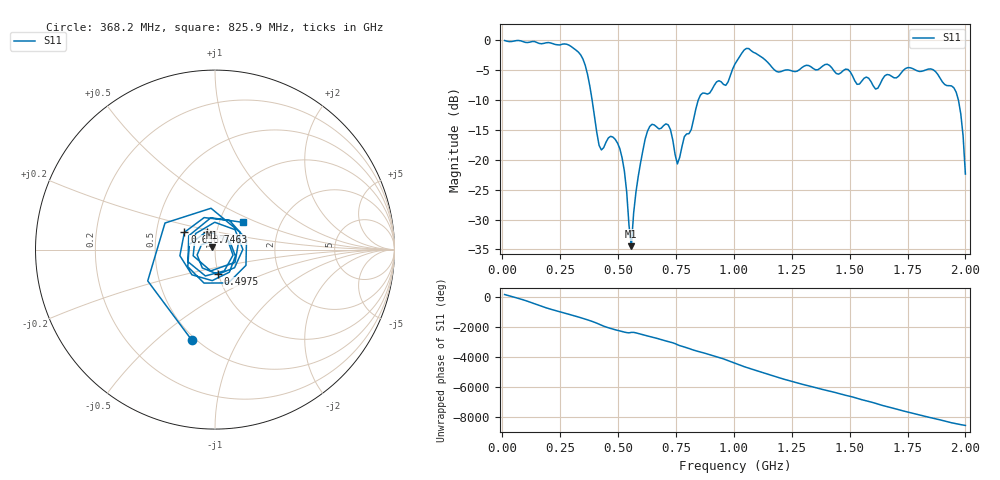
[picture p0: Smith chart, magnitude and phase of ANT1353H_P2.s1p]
!Created with skrf (http://scikit-rf.org).
# Hz S RI R 50.0
!freq ReS11 ImS11
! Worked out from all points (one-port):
!   201 points, 10 MHz to 2 GHz, reference 50 ohm
!   lowest |S11| = -34.5 dB at 557.2 MHz (marker M1), VSWR 1.04, Z = 48.5 + j1.14 ohm
!   |S11| at or under -10 dB: 388 MHz to 846.1 MHz (458.1 MHz wide, 74.2 % of centre); 1.97 GHz to end of sweep
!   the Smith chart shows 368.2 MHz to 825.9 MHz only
!   S11 on the Smith chart (normalised r, x): 368.2 MHz: 0.48, -0.66; 497.6 MHz: 0.99, -0.28; 656.8 MHz: 0.70, +0.14; 746.3 MHz: 0.89, +0.18; 825.9 MHz: 1.29, +0.41
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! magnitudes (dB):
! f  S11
! 10 MHz  0.0
! 258.8 MHz  -0.6
! 338.4 MHz  -2.4
! 368.2 MHz  -5.7
! 417.9 MHz  -17.6
! 497.6 MHz  -17.2
! 507.5 MHz  -18.1
! 527.4 MHz  -21.9
! 557.2 MHz  -34.5
! 577.1 MHz  -25.4
! 607 MHz  -18.5
! 626.9 MHz  -15.2
! 656.8 MHz  -14.2
! 716.5 MHz  -14.1
! 746.3 MHz  -19.1
! 756.2 MHz  -20.7
! 825.9 MHz  -13.3
! 855.8 MHz  -9.2
! 965.2 MHz  -7.5
! 1.005 GHz  -3.9
! 1.065 GHz  -1.4
! 1.254 GHz  -5.1
! 1.502 GHz  -5.2
! 1.612 GHz  -8.1
! 1.751 GHz  -4.5
! 1.95 GHz  -7.9
! 1.98 GHz  -12.3
! 2 GHz  -22.4
